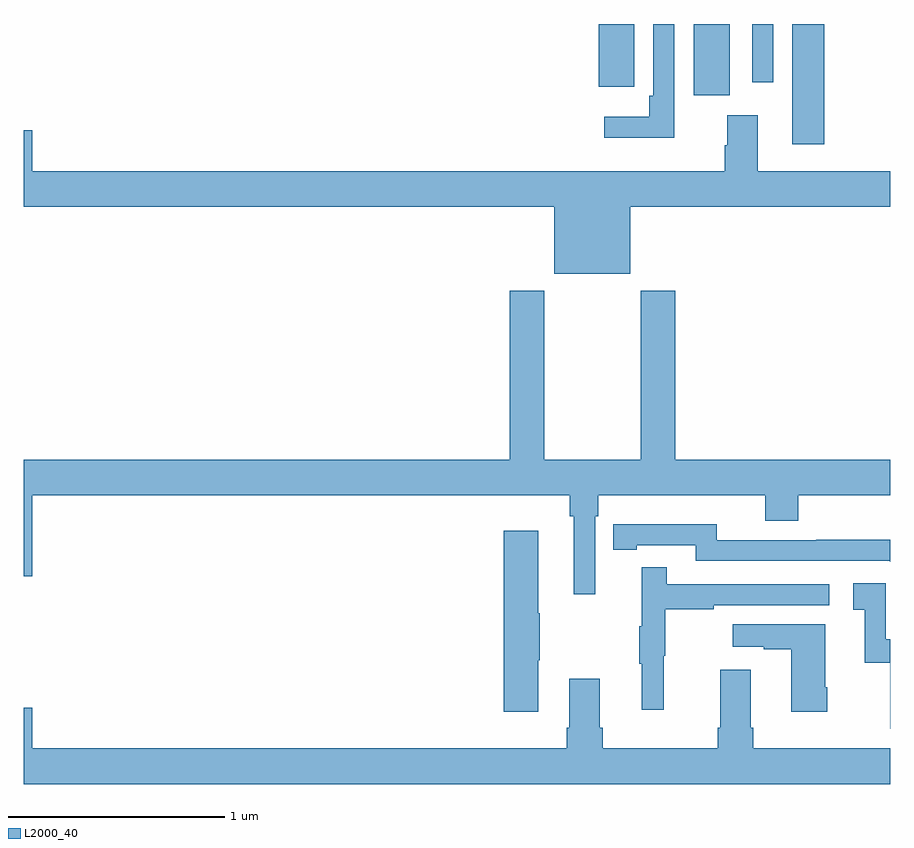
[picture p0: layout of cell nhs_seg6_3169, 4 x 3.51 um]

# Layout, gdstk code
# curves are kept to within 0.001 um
import gdstk
lib = gdstk.Library(unit=1e-6, precision=1e-09)
def R(c, l, rs):  # rectangles x0, y0, x1, y1
    for r in rs: c.add(gdstk.rectangle(r[:2], r[2:], *l))
def P(c, l, *ps):  # polygons
    for p in ps: c.add(gdstk.Polygon(p, *l))
L2000_40 = (2000, 40)

nhs_seg6_3169 = lib.new_cell('nhs_seg6_3169')
R(nhs_seg6_3169, L2000_40, [(300.548,960.945,300.695,961.5), (300.092,961.17,300.259,961.5), (299.654,961.211,299.818,961.5), (300.363,961.23,300.459,961.5)])
P(nhs_seg6_3169, L2000_40, [(300.003,961.5),(299.907,961.5),(299.907,961.168),(299.887,961.168),(299.887,961.072),(299.679,961.072),(299.679,960.974),(300.003,960.974)],
  [(299.8,960.656),(301,960.656),(301,960.82),(300.388,960.82),(300.388,961.078),(300.248,961.078),(300.248,960.941),(300.236,960.941),(300.236,960.82),(297.04,960.82),(297.04,961.009),(297,961.009),(297,960.656),(299.45,960.656),(299.45,960.347),(299.8,960.347)],
  [(299.521,959.228),(299.54,959.228),(299.54,958.869),(299.637,958.869),(299.637,959.228),(299.651,959.228),(299.651,959.324),(300.422,959.324),(300.422,959.207),(300.575,959.207),(300.575,959.324),(301,959.324),(301,959.488),(300.008,959.488),(300.008,960.268),(299.848,960.268),(299.848,959.488),(299.403,959.488),(299.403,960.268),(299.243,960.268),(299.243,959.488),(297,959.488),(297,958.95),(297.04,958.95),(297.04,959.324),(299.521,959.324)],
  [(301,959.12),(300.658,959.12),(300.658,959.118),(300.198,959.118),(300.198,959.191),(299.722,959.19),(299.722,959.074),(299.83,959.074),(299.83,959.094),(300.102,959.094),(300.102,959.022),(300.996,959.022),(301,959.018)],
  [(299.374,958.564),(299.382,958.564),(299.382,958.781),(299.374,958.781),(299.374,959.161),(299.216,959.161),(299.216,958.326),(299.374,958.326)],
  [(299.954,958.584),(299.962,958.584),(299.962,958.798),(300.185,958.798),(300.185,958.818),(300.718,958.818),(300.718,958.914),(299.969,958.914),(299.969,958.993),(299.852,958.993),(299.852,958.721),(299.841,958.721),(299.841,958.547),(299.852,958.547),(299.852,958.335),(299.954,958.335)],
  [(301,958.659),(300.978,958.659),(300.978,958.918),(300.828,958.918),(300.828,958.797),(300.881,958.797),(300.881,958.551),(300.999,958.551),(300.999,958.248),(301,958.248)],
  [(300.708,958.438),(300.7,958.438),(300.7,958.729),(300.273,958.729),(300.273,958.625),(300.416,958.625),(300.416,958.615),(300.542,958.615),(300.542,958.326),(300.708,958.326)],
  [(301,958.156),(300.368,958.156),(300.368,958.252),(300.355,958.252),(300.355,958.519),(300.215,958.519),(300.215,958.252),(300.203,958.252),(300.203,958.156),(299.672,958.156),(299.672,958.252),(299.659,958.252),(299.659,958.477),(299.519,958.477),(299.519,958.252),(299.507,958.252),(299.507,958.156),(297.04,958.156),(297.04,958.345),(297,958.345),(297,957.992),(301,957.992)])

lib.write_gds('nhs_seg6_3169.gds')
